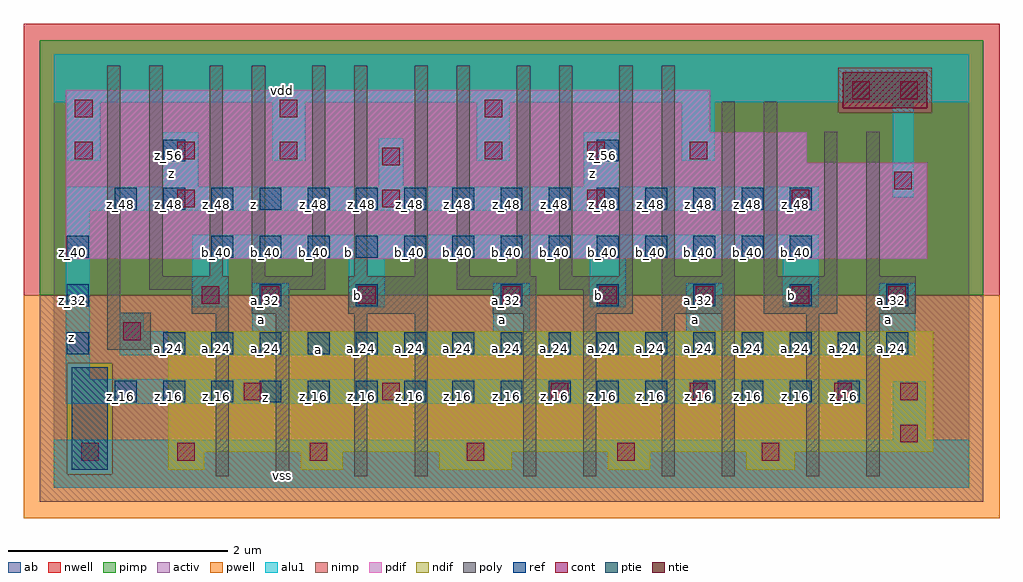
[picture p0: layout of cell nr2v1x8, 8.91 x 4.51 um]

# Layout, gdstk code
import gdstk
lib = gdstk.Library(unit=1e-6, precision=2.5e-09)
def R(c, l, rs):  # rectangles x0, y0, x1, y1
    for r in rs: c.add(gdstk.rectangle(r[:2], r[2:], *l))
def A(c, l, x, y, w, h, nx, ny, dx, dy):  # array of equal rectangles
    R(c, l, [(x+i*dx, y+j*dy, x+i*dx+w, y+j*dy+h) for i in range(nx) for j in range(ny)])
ndif = (3, 0)
pdif = (4, 0)
ntie = (5, 0)
ptie = (6, 0)
ref = (24, 0)
cont = (25, 0)
pwell = (41, 0)
nwell = (42, 0)
activ = (43, 0)
pimp = (44, 0)
nimp = (45, 0)
poly = (46, 0)
alu1 = (49, 0)
ab = (63, 0)

nr2v1x8 = lib.new_cell('nr2v1x8')
R(nr2v1x8, ndif, [(1.045,0.165,1.375,0.33), (2.255,0.165,2.64,0.33), (3.52,0.165,4.18,0.33), (5.06,0.165,5.445,0.33), (6.325,0.165,6.765,0.33), (1.045,0.33,8.03,1.43)])
R(nr2v1x8, pdif, [(0.11,2.09,7.975,2.97), (0.11,2.97,6.875,3.245), (0.11,3.245,5.995,3.63)])
R(nr2v1x8, ntie, [(7.205,3.465,7.975,3.795)])
R(nr2v1x8, ptie, [(0.165,0.165,0.495,1.1)])
A(nr2v1x8, ref, 0.56, 0.78, 0.2, 0.2, 16, 1, 0.44, 0)
A(nr2v1x8, ref, 0.12, 1.22, 0.2, 0.2, 1, 3, 0, 0.44)
A(nr2v1x8, ref, 1, 1.22, 0.2, 0.2, 16, 1, 0.44, 0)
A(nr2v1x8, ref, 4.08, 1.66, 0.2, 0.2, 5, 1, 0.88, 0)
A(nr2v1x8, ref, 1.44, 2.1, 0.2, 0.2, 13, 1, 0.44, 0)
A(nr2v1x8, ref, 0.56, 2.54, 0.2, 0.2, 15, 1, 0.44, 0)
R(nr2v1x8, ref, [(1.88,1.66,2.08,1.86), (2.76,1.66,2.96,1.86), (1,2.98,1.2,3.18), (4.96,2.98,5.16,3.18)])
A(nr2v1x8, cont, 4.1, 1.68, 0.16, 0.16, 5, 1, 0.88, 0)
A(nr2v1x8, cont, 1.13, 2.56, 0.16, 0.16, 4, 1, 1.87, 0)
A(nr2v1x8, cont, 0.195, 3, 0.16, 0.16, 3, 1, 0.935, 0)
A(nr2v1x8, cont, 3.935, 3, 0.16, 0.16, 3, 1, 0.935, 0)
A(nr2v1x8, cont, 0.195, 3.385, 0.16, 0.16, 3, 1, 1.87, 0)
R(nr2v1x8, cont, [(0.25,0.25,0.41,0.41), (1.13,0.25,1.29,0.41), (2.34,0.25,2.5,0.41), (3.77,0.25,3.93,0.41), (5.145,0.25,5.305,0.41), (6.465,0.25,6.625,0.41), (7.73,0.415,7.89,0.575), (1.735,0.8,1.895,0.96), (3,0.8,3.16,0.96), (4.54,0.8,4.7,0.96), (5.805,0.8,5.965,0.96), (7.125,0.8,7.285,0.96), (7.73,0.8,7.89,0.96), (0.635,1.35,0.795,1.51), (1.35,1.68,1.51,1.84), (1.9,1.68,2.06,1.84), (2.78,1.68,2.94,1.84), (7.675,2.725,7.835,2.885), (3,2.945,3.16,3.105), (7.29,3.55,7.45,3.71), (7.73,3.55,7.89,3.71)])
R(nr2v1x8, pwell, [(-0.275,-0.275,8.635,1.76)])
R(nr2v1x8, nwell, [(-0.275,1.76,8.635,4.235)])
R(nr2v1x8, activ, [(0.165,0.165,0.495,1.1), (1.045,0.165,1.375,0.33), (2.255,0.165,2.64,0.33), (3.52,0.165,4.18,0.33), (5.06,0.165,5.445,0.33), (6.325,0.165,6.765,0.33), (1.045,0.33,8.03,1.43), (0.11,2.09,7.975,2.97), (0.11,2.97,6.875,3.245), (0.11,3.245,5.995,3.63), (7.205,3.465,7.975,3.795)])
R(nr2v1x8, pimp, [(0.125,0.125,0.535,1.14), (-0.125,1.76,8.485,3.425), (-0.125,3.425,7.165,3.835), (8.015,3.425,8.485,3.835), (-0.125,3.835,8.485,4.085)])
R(nr2v1x8, nimp, [(-0.125,-0.125,8.485,0.125), (-0.125,0.125,0.125,1.14), (0.535,0.125,8.485,1.14), (-0.125,1.14,8.485,1.76), (7.165,3.425,8.015,3.835)])
R(nr2v1x8, poly, [(1.48,0.105,1.6,1.59), (2.03,0.105,2.15,1.59), (2.745,0.105,2.865,1.59), (3.295,0.105,3.415,1.59), (4.285,0.105,4.405,1.59), (4.835,0.105,4.955,1.59), (5.55,0.105,5.67,1.59), (6.1,0.105,6.22,1.59), (6.87,0.105,6.99,1.59), (7.42,0.105,7.54,1.59), (0.49,1.26,0.885,1.6), (1.26,1.59,1.6,1.81), (1.81,1.59,2.15,1.81), (2.69,1.59,3.415,1.93), (4.01,1.59,4.405,1.81), (4.835,1.59,5.285,1.81), (5.55,1.59,6.22,1.93), (6.485,1.59,7.155,1.93), (7.42,1.59,7.87,1.93), (0.49,1.6,0.61,3.855), (0.875,1.81,1.6,1.93), (1.81,1.81,2.48,1.93), (3.68,1.81,4.405,1.93), (4.615,1.81,5.285,1.93), (0.875,1.93,0.995,3.855), (1.425,1.93,1.545,3.855), (1.81,1.93,1.93,3.855), (2.36,1.93,2.48,3.855), (2.745,1.93,2.865,3.855), (3.295,1.93,3.415,3.855), (3.68,1.93,3.8,3.855), (4.23,1.93,4.35,3.855), (4.615,1.93,4.735,3.855), (5.165,1.93,5.285,3.855), (5.55,1.93,5.67,3.855), (6.1,1.93,6.22,3.525), (6.485,1.93,6.605,3.525), (7.035,1.93,7.155,3.25), (7.42,1.93,7.54,3.25)])
A(nr2v1x8, alu1, 4.015, 1.43, 0.33, 0.44, 3, 1, 1.76, 0)
A(nr2v1x8, alu1, 0.125, 2.985, 0.3, 0.535, 4, 1, 1.87, 0)
R(nr2v1x8, alu1, [(0,0,8.36,0.44), (7.66,0.44,7.96,0.975), (0.11,0.77,7.425,0.99), (0.11,0.99,0.33,2.53), (0.605,1.21,7.865,1.43), (0.605,1.43,0.825,1.595), (1.815,1.43,2.145,1.87), (1.265,1.65,1.595,2.09), (2.695,1.65,3.025,2.09), (4.895,1.65,5.225,2.09), (6.655,1.65,6.985,2.09), (1.265,2.09,6.985,2.31), (0.11,2.53,6.985,2.75), (7.66,2.655,7.85,3.52), (0.99,2.75,1.32,3.245), (2.97,2.75,3.19,3.19), (4.84,2.75,5.17,3.245), (0,3.52,8.36,3.96)])
R(nr2v1x8, ab, [(0,0,8.36,3.96)])
nr2v1x8.add(gdstk.Label('vss', (2.09,0.11), layer=49, texttype=0))
nr2v1x8.add(gdstk.Label('z', (1.9375,0.825), layer=49, texttype=0))
nr2v1x8.add(gdstk.Label('a', (2.42,1.265), layer=49, texttype=0))
nr2v1x8.add(gdstk.Label('a', (7.6175,1.54), layer=49, texttype=0))
nr2v1x8.add(gdstk.Label('b', (6.7375,1.76), layer=49, texttype=0))
nr2v1x8.add(gdstk.Label('a', (5.8575,1.54), layer=49, texttype=0))
nr2v1x8.add(gdstk.Label('b', (4.9775,1.76), layer=49, texttype=0))
nr2v1x8.add(gdstk.Label('a', (4.0975,1.54), layer=49, texttype=0))
nr2v1x8.add(gdstk.Label('b', (2.7775,1.76), layer=49, texttype=0))
nr2v1x8.add(gdstk.Label('a', (1.8975,1.54), layer=49, texttype=0))
nr2v1x8.add(gdstk.Label('b', (2.695,2.145), layer=49, texttype=0))
nr2v1x8.add(gdstk.Label('z', (0.165,1.375), layer=49, texttype=0))
nr2v1x8.add(gdstk.Label('z', (1.8275,2.585), layer=49, texttype=0))
nr2v1x8.add(gdstk.Label('z', (4.9225,2.8725), layer=49, texttype=0))
nr2v1x8.add(gdstk.Label('z', (1.0725,2.8725), layer=49, texttype=0))
nr2v1x8.add(gdstk.Label('vdd', (2.09,3.63), layer=49, texttype=0))
nr2v1x8.add(gdstk.Label('z_56', (5.01,3.03), layer=24, texttype=0))
nr2v1x8.add(gdstk.Label('z_48', (5.01,2.59), layer=24, texttype=0))
nr2v1x8.add(gdstk.Label('b_40', (5.01,2.15), layer=24, texttype=0))
nr2v1x8.add(gdstk.Label('b_32', (5.01,1.71), layer=24, texttype=0))
nr2v1x8.add(gdstk.Label('a_24', (5.01,1.27), layer=24, texttype=0))
nr2v1x8.add(gdstk.Label('z_16', (5.01,0.83), layer=24, texttype=0))
nr2v1x8.add(gdstk.Label('z_48', (4.57,2.59), layer=24, texttype=0))
nr2v1x8.add(gdstk.Label('b_40', (4.57,2.15), layer=24, texttype=0))
nr2v1x8.add(gdstk.Label('a_24', (4.57,1.27), layer=24, texttype=0))
nr2v1x8.add(gdstk.Label('z_16', (4.57,0.83), layer=24, texttype=0))
nr2v1x8.add(gdstk.Label('z_48', (4.13,2.59), layer=24, texttype=0))
nr2v1x8.add(gdstk.Label('b_40', (4.13,2.15), layer=24, texttype=0))
nr2v1x8.add(gdstk.Label('a_32', (4.13,1.71), layer=24, texttype=0))
nr2v1x8.add(gdstk.Label('a_24', (4.13,1.27), layer=24, texttype=0))
nr2v1x8.add(gdstk.Label('z_16', (4.13,0.83), layer=24, texttype=0))
nr2v1x8.add(gdstk.Label('z_48', (3.69,2.59), layer=24, texttype=0))
nr2v1x8.add(gdstk.Label('b_40', (3.69,2.15), layer=24, texttype=0))
nr2v1x8.add(gdstk.Label('a_24', (3.69,1.27), layer=24, texttype=0))
nr2v1x8.add(gdstk.Label('z_16', (3.69,0.83), layer=24, texttype=0))
nr2v1x8.add(gdstk.Label('z_48', (3.25,2.59), layer=24, texttype=0))
nr2v1x8.add(gdstk.Label('b_40', (3.25,2.15), layer=24, texttype=0))
nr2v1x8.add(gdstk.Label('a_24', (3.25,1.27), layer=24, texttype=0))
nr2v1x8.add(gdstk.Label('z_16', (3.25,0.83), layer=24, texttype=0))
nr2v1x8.add(gdstk.Label('z_48', (2.81,2.59), layer=24, texttype=0))
nr2v1x8.add(gdstk.Label('b_40', (2.81,2.15), layer=24, texttype=0))
nr2v1x8.add(gdstk.Label('b_32', (2.81,1.71), layer=24, texttype=0))
nr2v1x8.add(gdstk.Label('a_24', (2.81,1.27), layer=24, texttype=0))
nr2v1x8.add(gdstk.Label('z_16', (2.81,0.83), layer=24, texttype=0))
nr2v1x8.add(gdstk.Label('z_48', (2.37,2.59), layer=24, texttype=0))
nr2v1x8.add(gdstk.Label('b_40', (2.37,2.15), layer=24, texttype=0))
nr2v1x8.add(gdstk.Label('a_24', (2.37,1.27), layer=24, texttype=0))
nr2v1x8.add(gdstk.Label('z_16', (2.37,0.83), layer=24, texttype=0))
nr2v1x8.add(gdstk.Label('z_40', (0.17,2.15), layer=24, texttype=0))
nr2v1x8.add(gdstk.Label('z_32', (0.17,1.71), layer=24, texttype=0))
nr2v1x8.add(gdstk.Label('z_24', (0.17,1.27), layer=24, texttype=0))
nr2v1x8.add(gdstk.Label('z_48', (1.93,2.59), layer=24, texttype=0))
nr2v1x8.add(gdstk.Label('b_40', (1.93,2.15), layer=24, texttype=0))
nr2v1x8.add(gdstk.Label('a_32', (1.93,1.71), layer=24, texttype=0))
nr2v1x8.add(gdstk.Label('a_24', (1.93,1.27), layer=24, texttype=0))
nr2v1x8.add(gdstk.Label('z_16', (1.93,0.83), layer=24, texttype=0))
nr2v1x8.add(gdstk.Label('z_48', (1.49,2.59), layer=24, texttype=0))
nr2v1x8.add(gdstk.Label('b_40', (1.49,2.15), layer=24, texttype=0))
nr2v1x8.add(gdstk.Label('a_24', (1.49,1.27), layer=24, texttype=0))
nr2v1x8.add(gdstk.Label('z_16', (1.49,0.83), layer=24, texttype=0))
nr2v1x8.add(gdstk.Label('z_56', (1.05,3.03), layer=24, texttype=0))
nr2v1x8.add(gdstk.Label('z_48', (1.05,2.59), layer=24, texttype=0))
nr2v1x8.add(gdstk.Label('a_24', (1.05,1.27), layer=24, texttype=0))
nr2v1x8.add(gdstk.Label('z_16', (1.05,0.83), layer=24, texttype=0))
nr2v1x8.add(gdstk.Label('a_32', (7.65,1.71), layer=24, texttype=0))
nr2v1x8.add(gdstk.Label('a_24', (7.65,1.27), layer=24, texttype=0))
nr2v1x8.add(gdstk.Label('a_24', (7.21,1.27), layer=24, texttype=0))
nr2v1x8.add(gdstk.Label('z_16', (7.21,0.83), layer=24, texttype=0))
nr2v1x8.add(gdstk.Label('z_48', (6.77,2.59), layer=24, texttype=0))
nr2v1x8.add(gdstk.Label('b_40', (6.77,2.15), layer=24, texttype=0))
nr2v1x8.add(gdstk.Label('b_32', (6.77,1.71), layer=24, texttype=0))
nr2v1x8.add(gdstk.Label('a_24', (6.77,1.27), layer=24, texttype=0))
nr2v1x8.add(gdstk.Label('z_16', (6.77,0.83), layer=24, texttype=0))
nr2v1x8.add(gdstk.Label('z_48', (0.61,2.59), layer=24, texttype=0))
nr2v1x8.add(gdstk.Label('z_16', (0.61,0.83), layer=24, texttype=0))
nr2v1x8.add(gdstk.Label('z_48', (6.33,2.59), layer=24, texttype=0))
nr2v1x8.add(gdstk.Label('b_40', (6.33,2.15), layer=24, texttype=0))
nr2v1x8.add(gdstk.Label('a_24', (6.33,1.27), layer=24, texttype=0))
nr2v1x8.add(gdstk.Label('z_16', (6.33,0.83), layer=24, texttype=0))
nr2v1x8.add(gdstk.Label('z_48', (5.89,2.59), layer=24, texttype=0))
nr2v1x8.add(gdstk.Label('b_40', (5.89,2.15), layer=24, texttype=0))
nr2v1x8.add(gdstk.Label('a_32', (5.89,1.71), layer=24, texttype=0))
nr2v1x8.add(gdstk.Label('a_24', (5.89,1.27), layer=24, texttype=0))
nr2v1x8.add(gdstk.Label('z_16', (5.89,0.83), layer=24, texttype=0))
nr2v1x8.add(gdstk.Label('z_48', (5.45,2.59), layer=24, texttype=0))
nr2v1x8.add(gdstk.Label('b_40', (5.45,2.15), layer=24, texttype=0))
nr2v1x8.add(gdstk.Label('a_24', (5.45,1.27), layer=24, texttype=0))
nr2v1x8.add(gdstk.Label('z_16', (5.45,0.83), layer=24, texttype=0))

lib.write_gds('nr2v1x8.gds')
